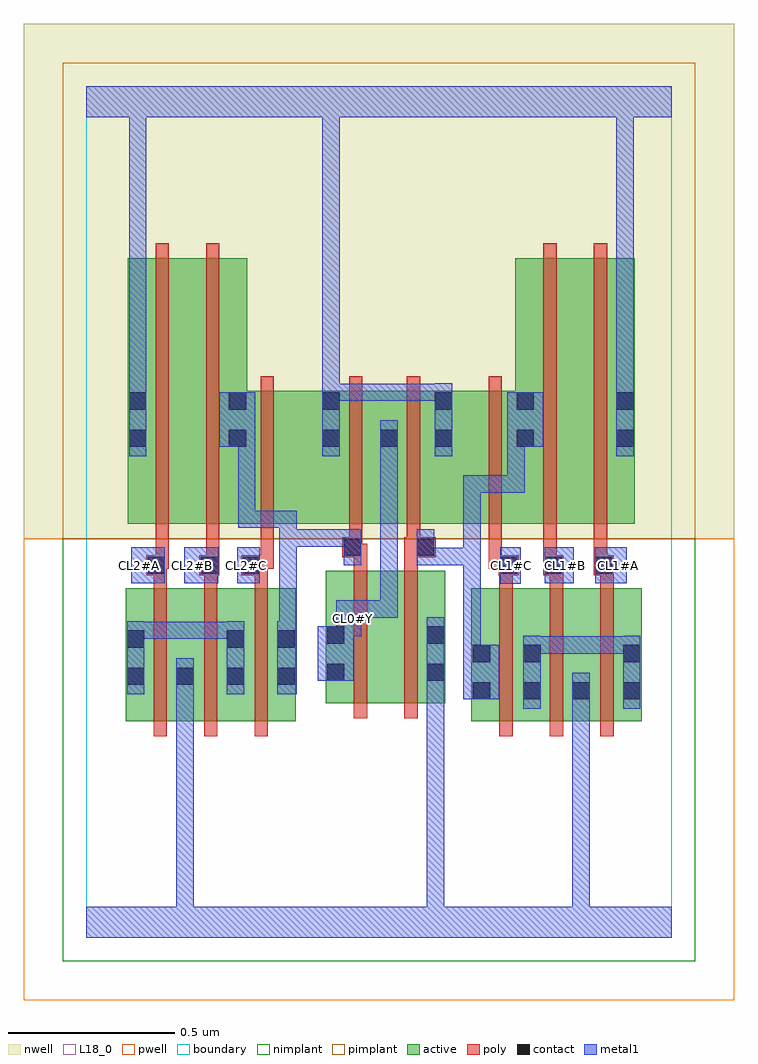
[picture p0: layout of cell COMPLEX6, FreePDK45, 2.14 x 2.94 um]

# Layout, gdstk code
import gdstk
lib = gdstk.Library(unit=1e-6, precision=1e-09)
def R(c, l, rs):  # rectangles x0, y0, x1, y1
    for r in rs: c.add(gdstk.rectangle(r[:2], r[2:], *l))
def A(c, l, x, y, w, h, nx, ny, dx, dy):  # array of equal rectangles
    R(c, l, [(x+i*dx, y+j*dy, x+i*dx+w, y+j*dy+h) for i in range(nx) for j in range(ny)])
active = (1, 0)
pwell = (2, 0)
nwell = (3, 0)
nimplant = (4, 0)
pimplant = (5, 0)
poly = (9, 0)
contact = (10, 0)
metal1 = (11, 0)
L18_0 = (18, 0)
boundary = (235, 0)

complex6 = lib.new_cell('COMPLEX6')
R(complex6, active, [(0.118,0.65,0.326,1.05), (0.266,0.65,0.326,1.05), (0.266,0.65,0.478,1.05), (0.418,0.65,0.63,1.05), (1.158,0.65,1.218,1.05), (1.158,0.65,1.37,1.05), (1.31,0.65,1.37,1.05), (1.31,0.65,1.518,1.05), (1.458,0.65,1.518,1.05), (1.458,0.65,1.67,1.05), (1.61,0.65,1.67,1.05), (0.72,0.704,0.78,1.104), (0.72,0.704,0.9,1.104), (0.9,0.704,1.08,1.104), (1.02,0.704,1.08,1.104), (0.118,0.756,0.178,1.05), (0.418,0.756,0.478,0.928), (0.57,0.756,0.63,1.05), (0.124,1.244,0.184,2.044), (0.124,1.244,0.304,2.044), (0.304,1.244,0.484,2.044), (0.424,1.244,0.484,2.044), (0.424,1.244,0.766,1.644), (0.706,1.244,0.766,1.644), (0.706,1.244,0.94,1.644), (0.88,1.244,1.104,1.644), (1.044,1.244,1.104,1.644), (1.044,1.244,1.35,1.644), (1.29,1.244,1.35,2.044), (1.29,1.244,1.47,2.044), (1.47,1.244,1.65,2.044), (1.59,1.244,1.65,2.044), (0.88,1.472,0.94,1.644)])
R(complex6, pwell, [(-0.188,-0.188,1.948,1.2)])
R(complex6, nwell, [(-0.188,1.2,1.948,2.748)])
R(complex6, nimplant, [(-0.072,-0.072,1.832,1.2)])
R(complex6, pimplant, [(-0.072,1.2,1.832,2.632)])
A(complex6, poly, 0.202, 0.606, 0.04, 0.488, 3, 1, 0.152, 0)
A(complex6, poly, 1.242, 0.606, 0.04, 0.488, 3, 1, 0.152, 0)
A(complex6, poly, 0.202, 1.054, 0.04, 0.076, 3, 1, 0.152, 0)
A(complex6, poly, 1.242, 1.054, 0.04, 0.076, 3, 1, 0.152, 0)
R(complex6, poly, [(0.804,0.66,0.844,1.148), (0.956,0.66,0.996,1.148), (0.18,1.09,0.242,1.15), (0.34,1.09,0.4,1.15), (0.354,1.09,0.394,1.13), (0.354,1.09,0.394,1.13), (0.466,1.09,0.546,1.15), (1.24,1.09,1.3,1.15), (1.374,1.09,1.434,1.15), (1.394,1.09,1.434,1.13), (1.394,1.09,1.434,1.13), (1.526,1.09,1.586,1.15), (1.546,1.09,1.586,1.13), (1.546,1.09,1.586,1.13), (0.804,1.108,0.844,1.184), (0.956,1.108,0.996,1.184), (0.202,1.11,0.242,1.15), (0.202,1.11,0.248,1.15), (0.208,1.11,0.248,1.24), (0.36,1.11,0.4,1.24), (0.506,1.11,0.546,1.15), (0.506,1.11,0.564,1.15), (0.524,1.11,0.564,1.24), (1.21,1.11,1.25,1.24), (1.21,1.11,1.28,1.15), (1.24,1.11,1.28,1.15), (1.374,1.11,1.414,1.24), (1.526,1.11,1.566,1.24), (0.77,1.144,0.83,1.204), (0.79,1.144,0.83,1.184), (0.79,1.144,0.844,1.184), (0.956,1.144,1.05,1.204), (0.79,1.164,0.83,1.24), (0.964,1.164,1.004,1.204), (0.964,1.164,1.004,1.204), (0.964,1.164,1.004,1.24), (0.208,1.2,0.248,2.088), (0.36,1.2,0.4,2.088), (0.524,1.2,0.564,1.688), (0.79,1.2,0.83,1.688), (0.964,1.2,1.004,1.688), (1.21,1.2,1.25,1.688), (1.374,1.2,1.414,2.088), (1.526,1.2,1.566,2.088)])
A(complex6, contact, 0.27, 0.76, 0.052, 0.052, 3, 1, 0.152, 0)
R(complex6, contact, [(1.162,0.716,1.214,0.768), (1.314,0.716,1.366,0.768), (1.462,0.716,1.514,0.768), (1.614,0.716,1.666,0.768), (0.122,0.76,0.174,0.812), (0.724,0.772,0.776,0.824), (1.024,0.772,1.076,0.824), (1.162,0.828,1.214,0.88), (1.314,0.828,1.366,0.88), (1.614,0.828,1.666,0.88), (0.122,0.872,0.174,0.924), (0.422,0.872,0.474,0.924), (0.574,0.872,0.626,0.924), (0.724,0.884,0.776,0.936), (1.024,0.884,1.076,0.936), (0.184,1.094,0.236,1.146), (0.344,1.094,0.396,1.146), (0.47,1.094,0.522,1.146), (1.244,1.094,1.296,1.146), (1.378,1.094,1.43,1.146), (1.53,1.094,1.582,1.146), (0.774,1.148,0.826,1.2), (0.994,1.148,1.046,1.2), (0.128,1.476,0.18,1.528), (0.428,1.476,0.48,1.528), (0.71,1.476,0.762,1.528), (0.884,1.476,0.936,1.528), (1.048,1.476,1.1,1.528), (1.294,1.476,1.346,1.528), (1.594,1.476,1.646,1.528), (0.128,1.588,0.18,1.64), (0.428,1.588,0.48,1.64), (0.71,1.588,0.762,1.64), (1.048,1.588,1.1,1.64), (1.294,1.588,1.346,1.64), (1.594,1.588,1.646,1.64)])
R(complex6, metal1, [(0,0,1.76,0.092), (0.27,0.04,0.322,0.092), (0.27,0.04,0.322,0.092), (0.27,0.04,0.322,0.092), (0.27,0.04,0.322,0.092), (0.27,0.04,0.322,0.092), (0.27,0.04,0.322,0.092), (0.27,0.04,0.322,0.092), (0.27,0.04,0.322,0.092), (0.27,0.04,0.322,0.092), (0.27,0.04,0.322,0.092), (0.27,0.04,0.322,0.092), (0.27,0.04,0.322,0.092), (0.27,0.04,0.322,0.784), (1.024,0.04,1.076,0.092), (1.024,0.04,1.076,0.092), (1.024,0.04,1.076,0.092), (1.024,0.04,1.076,0.092), (1.024,0.04,1.076,0.092), (1.024,0.04,1.076,0.092), (1.024,0.04,1.076,0.092), (1.024,0.04,1.076,0.092), (1.024,0.04,1.076,0.092), (1.024,0.04,1.076,0.092), (1.024,0.04,1.076,0.796), (1.462,0.04,1.514,0.092), (1.462,0.04,1.514,0.092), (1.462,0.04,1.514,0.092), (1.462,0.04,1.514,0.092), (1.462,0.04,1.514,0.092), (1.462,0.04,1.514,0.092), (1.462,0.04,1.514,0.092), (1.462,0.04,1.514,0.092), (1.462,0.04,1.514,0.092), (1.462,0.04,1.514,0.092), (1.462,0.04,1.514,0.092), (1.462,0.04,1.514,0.092), (1.462,0.04,1.514,0.74), (1.314,0.688,1.366,0.908), (1.462,0.688,1.514,0.796), (1.614,0.688,1.666,0.908), (1.134,0.716,1.242,0.88), (0.122,0.732,0.174,0.952), (0.27,0.732,0.322,0.84), (0.422,0.732,0.474,0.952), (0.574,0.732,0.632,0.952), (1.024,0.744,1.076,0.796), (1.024,0.744,1.076,0.796), (1.024,0.744,1.076,0.964), (0.696,0.772,0.804,0.936), (1.134,0.828,1.186,1.172), (1.314,0.854,1.366,0.906), (1.314,0.854,1.366,0.906), (1.314,0.854,1.536,0.906), (1.484,0.854,1.536,0.906), (1.484,0.854,1.666,0.906), (1.614,0.854,1.666,0.906), (1.614,0.854,1.666,0.906), (0.752,0.884,0.804,0.958), (0.122,0.898,0.174,0.95), (0.122,0.898,0.174,0.95), (0.122,0.898,0.342,0.95), (0.29,0.898,0.342,0.95), (0.29,0.898,0.342,0.95), (0.29,0.898,0.342,0.95), (0.29,0.898,0.474,0.95), (0.58,0.9,0.632,0.952), (0.58,0.9,0.632,0.952), (0.58,0.9,0.632,1.228), (0.752,0.906,0.826,1.014), (0.774,0.962,0.826,1.014), (0.774,0.962,0.826,1.014), (0.774,0.962,0.936,1.014), (0.884,0.962,0.936,1.014), (0.884,0.962,0.936,1.014), (0.884,0.962,0.936,1.014), (0.884,0.962,0.936,1.5), (1.244,1.064,1.306,1.174), (0.134,1.066,0.236,1.174), (0.294,1.066,0.396,1.174), (0.454,1.066,0.522,1.174), (1.378,1.066,1.466,1.174), (1.53,1.066,1.626,1.174), (0.774,1.12,0.826,1.228), (0.994,1.12,1.046,1.172), (0.994,1.12,1.046,1.172), (0.994,1.12,1.046,1.228), (0.994,1.12,1.186,1.172), (1.134,1.12,1.186,1.172), (1.134,1.12,1.186,1.39), (0.58,1.176,0.632,1.284), (0.58,1.176,0.826,1.228), (0.774,1.176,0.826,1.228), (0.774,1.176,0.826,1.228), (0.456,1.232,0.508,1.284), (0.456,1.232,0.508,1.284), (0.456,1.232,0.508,1.284), (0.456,1.232,0.632,1.284), (0.456,1.232,0.508,1.528), (1.134,1.338,1.186,1.39), (1.134,1.338,1.256,1.39), (1.204,1.338,1.256,1.39), (1.204,1.338,1.318,1.39), (1.266,1.338,1.318,1.39), (1.266,1.338,1.318,1.528), (0.128,1.448,0.18,1.668), (0.71,1.448,0.762,1.668), (0.884,1.448,0.936,1.556), (1.048,1.448,1.1,1.668), (1.594,1.448,1.646,1.668), (0.4,1.476,0.508,1.64), (1.266,1.476,1.374,1.64), (0.71,1.614,0.762,1.666), (0.71,1.614,0.762,1.666), (0.71,1.614,0.936,1.666), (0.884,1.614,0.936,1.666), (0.884,1.614,0.936,1.666), (0.884,1.614,0.936,1.666), (0.884,1.614,1.1,1.666), (0.128,1.616,0.18,1.668), (0.128,1.616,0.18,1.668), (0.128,1.616,0.18,1.668), (0.128,1.616,0.18,1.668), (0.128,1.616,0.18,2.52), (0.71,1.616,0.762,2.52), (1.594,1.616,1.646,2.52), (0,2.468,1.76,2.56), (0.128,2.468,0.18,2.52), (0.128,2.468,0.18,2.52), (0.128,2.468,0.18,2.52), (0.128,2.468,0.18,2.52), (0.71,2.468,0.762,2.52), (0.71,2.468,0.762,2.52), (0.71,2.468,0.762,2.52), (0.71,2.468,0.762,2.52), (0.71,2.468,0.762,2.52), (0.71,2.468,0.762,2.52), (0.71,2.468,0.762,2.52), (0.71,2.468,0.762,2.52), (0.71,2.468,0.762,2.52), (0.71,2.468,0.762,2.52), (0.71,2.468,0.762,2.52), (0.71,2.468,0.762,2.52), (0.71,2.468,0.762,2.52), (0.71,2.468,0.762,2.52), (0.71,2.468,0.762,2.52), (0.71,2.468,0.762,2.52), (1.594,2.468,1.646,2.52), (1.594,2.468,1.646,2.52), (1.594,2.468,1.646,2.52), (1.594,2.468,1.646,2.52), (1.594,2.468,1.646,2.52), (1.594,2.468,1.646,2.52), (1.594,2.468,1.646,2.52), (1.594,2.468,1.646,2.52)])
A(complex6, L18_0, 0.134, 1.094, 0.052, 0.052, 3, 1, 0.16, 0)
A(complex6, L18_0, 1.254, 1.094, 0.052, 0.052, 3, 1, 0.16, 0)
R(complex6, L18_0, [(0,0,1.76,0.092), (0.27,0.04,0.322,0.092), (0.27,0.04,0.322,0.092), (0.27,0.04,0.322,0.092), (0.27,0.04,0.322,0.092), (0.27,0.04,0.322,0.092), (0.27,0.04,0.322,0.092), (0.27,0.04,0.322,0.092), (0.27,0.04,0.322,0.092), (0.27,0.04,0.322,0.092), (0.27,0.04,0.322,0.092), (0.27,0.04,0.322,0.092), (0.27,0.04,0.322,0.092), (0.27,0.04,0.322,0.784), (1.024,0.04,1.076,0.092), (1.024,0.04,1.076,0.092), (1.024,0.04,1.076,0.092), (1.024,0.04,1.076,0.092), (1.024,0.04,1.076,0.092), (1.024,0.04,1.076,0.092), (1.024,0.04,1.076,0.092), (1.024,0.04,1.076,0.092), (1.024,0.04,1.076,0.092), (1.024,0.04,1.076,0.092), (1.024,0.04,1.076,0.796), (1.462,0.04,1.514,0.092), (1.462,0.04,1.514,0.092), (1.462,0.04,1.514,0.092), (1.462,0.04,1.514,0.092), (1.462,0.04,1.514,0.092), (1.462,0.04,1.514,0.092), (1.462,0.04,1.514,0.092), (1.462,0.04,1.514,0.092), (1.462,0.04,1.514,0.092), (1.462,0.04,1.514,0.092), (1.462,0.04,1.514,0.092), (1.462,0.04,1.514,0.092), (1.462,0.04,1.514,0.74), (1.462,0.688,1.514,0.796), (0.27,0.732,0.322,0.84), (1.024,0.744,1.076,0.964), (1.024,0.744,1.076,0.796), (1.024,0.744,1.076,0.796), (0.696,0.772,0.804,0.936), (0.752,0.884,0.804,0.958), (0.752,0.906,0.826,1.014), (0.774,0.934,0.826,0.986), (0.774,0.962,0.826,1.014), (0.774,0.962,0.826,1.014), (0.774,0.962,0.936,1.014), (0.884,0.962,0.936,1.014), (0.884,0.962,0.936,1.014), (0.884,0.962,0.936,1.014), (0.884,0.962,0.936,1.5), (1.244,1.064,1.306,1.174), (0.134,1.066,0.236,1.174), (0.294,1.066,0.396,1.174), (0.454,1.066,0.522,1.174), (1.378,1.066,1.466,1.174), (1.53,1.066,1.626,1.174), (0.128,1.448,0.18,1.668), (0.71,1.448,0.762,1.668), (0.884,1.448,0.936,1.556), (1.048,1.448,1.1,1.668), (1.594,1.448,1.646,1.668), (0.71,1.614,0.762,1.666), (0.71,1.614,0.762,1.666), (0.71,1.614,0.936,1.666), (0.884,1.614,0.936,1.666), (0.884,1.614,0.936,1.666), (0.884,1.614,0.936,1.666), (0.884,1.614,1.1,1.666), (0.128,1.616,0.18,1.668), (0.128,1.616,0.18,1.668), (0.128,1.616,0.18,1.668), (0.128,1.616,0.18,1.668), (0.128,1.616,0.18,2.52), (0.71,1.616,0.762,2.52), (1.594,1.616,1.646,2.52), (0,2.468,1.76,2.56), (0.128,2.468,0.18,2.52), (0.128,2.468,0.18,2.52), (0.128,2.468,0.18,2.52), (0.128,2.468,0.18,2.52), (0.71,2.468,0.762,2.52), (0.71,2.468,0.762,2.52), (0.71,2.468,0.762,2.52), (0.71,2.468,0.762,2.52), (0.71,2.468,0.762,2.52), (0.71,2.468,0.762,2.52), (0.71,2.468,0.762,2.52), (0.71,2.468,0.762,2.52), (0.71,2.468,0.762,2.52), (0.71,2.468,0.762,2.52), (0.71,2.468,0.762,2.52), (0.71,2.468,0.762,2.52), (0.71,2.468,0.762,2.52), (0.71,2.468,0.762,2.52), (0.71,2.468,0.762,2.52), (0.71,2.468,0.762,2.52), (1.594,2.468,1.646,2.52), (1.594,2.468,1.646,2.52), (1.594,2.468,1.646,2.52), (1.594,2.468,1.646,2.52), (1.594,2.468,1.646,2.52), (1.594,2.468,1.646,2.52), (1.594,2.468,1.646,2.52), (1.594,2.468,1.646,2.52)])
R(complex6, boundary, [(0,0,1.76,2.56)])
complex6.add(gdstk.Label('CL0#Y', (0.8,0.96), layer=11, texttype=0))
complex6.add(gdstk.Label('CL1#A', (1.6,1.12), layer=11, texttype=0))
complex6.add(gdstk.Label('CL1#B', (1.44,1.12), layer=11, texttype=0))
complex6.add(gdstk.Label('CL1#C', (1.28,1.12), layer=11, texttype=0))
complex6.add(gdstk.Label('CL2#A', (0.16,1.12), layer=11, texttype=0))
complex6.add(gdstk.Label('CL2#B', (0.32,1.12), layer=11, texttype=0))
complex6.add(gdstk.Label('CL2#C', (0.48,1.12), layer=11, texttype=0))

lib.write_gds('COMPLEX6.gds')
